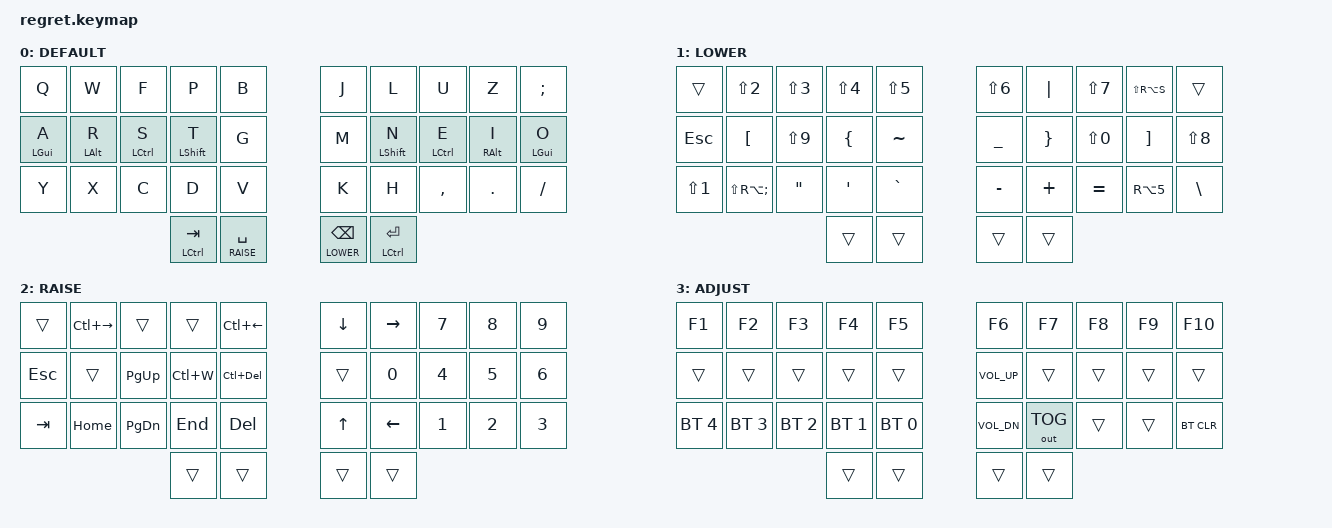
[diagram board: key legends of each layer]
#include <behaviors.dtsi>
#include <dt-bindings/zmk/keys.h>
#include <dt-bindings/zmk/bt.h>
#include <dt-bindings/zmk/rgb.h>
#include <dt-bindings/zmk/outputs.h>

#define DEFAULT 0
#define LOWER 1
#define RAISE 2
#define ADJUST 3

&lt {
    flavor = "tap-preferred";
    quick-tap-ms = <200>;
};
/ {
    chosen {
      zmk,battery = &vbatt;
    };

    vbatt: vbatt {
        compatible = "zmk,battery-nrf-vddh";
    };

    conditional_layers {
        compatible = "zmk,conditional-layers";
        tri_layer {
            if-layers = <1 2>;
            then-layer = <3>;
        };
    };
    behaviors {
        hm: homerow_mods {
            compatible = "zmk,behavior-hold-tap";
            label = "HOMEROW_MODS";
            #binding-cells = <2>;
            tapping-term-ms = <170>;
            quick-tap-ms = <100>;
            flavor = "balanced";
            bindings = <&kp>, <&kp>;
        };
        // hm: homerow_mods {
        //     compatible = "zmk,behavior-hold-tap";
        //     label = "HOMEROW_MODS";
        //     #binding-cells = <2>;
        //     tapping-term-ms = <350>;
        //     quick-tap-ms = <0>;
        //     flavor = "balanced";
        //     bindings = <&kp>, <&kp>;
        // };
    };

    keymap {
        compatible = "zmk,keymap";

        default_layer {
            label= "DEFAULT";
// --------------------------------------------------------------------------------------------------------------------------
//                |  Q  |  W  |  F  |  P  |  B  |                 |  J  |  L  |  U  |  Z  |  ;  |
//                |  A  |  R  |  S  |  T  |  G  |                 |  M  |  N  |  E  |  I  |  O  |
//                |  Y  |  X  |  C  |  D  |  V  |                 |  K  |  H  |  ,  |  .  |  /  |
//                                  | TAB | SPC |                 | BSP | ENT |
            bindings = <
                &kp Q      &kp W      &kp F         &kp P           &kp B               &kp J     &kp L          &kp U         &kp Z      &kp SEMI
                &hm LGUI A &hm LALT R &hm LCTRL S   &hm LSHFT T     &kp G               &kp M     &hm LSHFT N    &hm LCTRL E   &hm RALT I &hm LGUI O
                &kp Y      &kp X      &kp C         &kp D           &kp V               &kp K     &kp H          &kp COMMA     &kp DOT    &kp FSLH
                                                    &hm LCTRL TAB   &lt RAISE SPACE     &lt LOWER BSPC &hm LCTRL RET
            >;
        };

        lower_layer {
            label= "LOWER";
// --------------------------------------------------------------------------------------------------------------------------
//                |     |  @  |  #  |  $  |  %  |                 |  ^  |  |  |  &  |  §  |     |
//                | ESC |  [  |  (  |  {  |  ~  |                 |  _  |  }  |  )  |  ]  |  *  |
//                |  !  |  °  |  "  |  '  |  `  |                 |  -  |  +  |  =  |  €  |  \  |
//                                  |     |     |                 |     |     |
            bindings = <
                &trans     &kp LS(N2)       &kp LS(N3) &kp LS(N4) &kp LS(N5)            &kp LS(N6) &kp PIPE &kp LS(N7) &kp LS(RA(S)) &trans
                &kp ESC    &kp LBKT         &kp LS(N9) &kp LBRC   &kp TILDE             &kp UNDER  &kp RBRC &kp LS(N0) &kp RBKT      &kp LS(N8)
                &kp LS(N1) &kp LS(RA(SEMI)) &kp DQT    &kp SQT    &kp GRAVE             &kp MINUS  &kp PLUS &kp EQUAL  &kp RA(N5)    &kp BSLH
                                                       &trans     &trans                &trans     &trans
            >;
        };

        raise_layer {
            label= "RAISE";
// --------------------------------------------------------------------------------------------------------------------------
//                |     | WOR |     |     | WOB |                |  v  |  <  |  7  |  8  |  9  |
//                | ESC |     | PGD | BSW | DEW |                |     |  0  |  4  |  5  |  6  |
//                | TAB | HOM | PGU | END | DEL |                |  ^  |  >  |  1  |  2  |  3  |
//                                  |     |     |                |     |     |
            bindings = <
                &trans   &kp LC(RIGHT) &trans     &trans    &kp LC(LEFT)                &kp DOWN  &kp RIGHT &kp N7  &kp N8 &kp N9
                &kp ESC  &trans        &kp PG_UP  &kp LC(W) &kp LC(DEL)                 &trans    &kp N0    &kp N4  &kp N5 &kp N6
                &kp TAB  &kp HOME      &kp PG_DN  &kp END   &kp DEL                     &kp UP    &kp LEFT  &kp N1  &kp N2 &kp N3
                                                  &trans    &trans                      &trans    &trans
            >;
        };

        adjust_layer {
            label= "ADJUST";
// --------------------------------------------------------------------------------------------------------------------------
//                | F1  | F2  | F3  | F4  | F5  |                | F6  | F7  | F8  | F9  | F10 |
//                | F11 |     |     |     |     |                | V+  |     |     |     | F12 |
//                |     |     |     |     |     |                | V-  |     |     |     | LTG |
//                | bt0 | bt1 | bt2 | bt3 | bt4 |                |     |     |     | btc | btt |
//                                  |     |     |                |     |     |
            bindings = <
                &kp F1        &kp F2        &kp F3        &kp F4        &kp F5          &kp F6        &kp F7       &kp F8     &kp F9     &kp F10
                &trans        &trans        &trans        &trans        &trans          &kp K_VOL_UP  &trans       &trans     &trans     &trans
                &bt BT_SEL 4  &bt BT_SEL 3  &bt BT_SEL 2  &bt BT_SEL 1  &bt BT_SEL 0    &kp K_VOL_DN  &out OUT_TOG &trans     &trans     &bt BT_CLR
                                                          &trans        &trans          &trans        &trans
            >;
        };
    };
};

